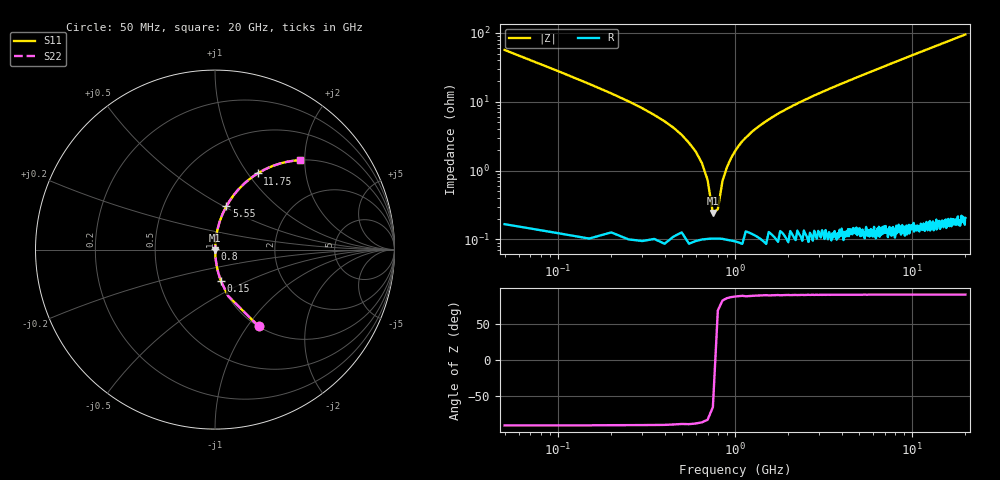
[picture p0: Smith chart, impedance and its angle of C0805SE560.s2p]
! AVX Thin Film Operation		Date: April 2012
! Description: Accu-P® Series, Thin Film, SMD, RF Capacitor
! Part Number: 08053K560FBTTR
!	50	MHz	-	20.05	GHz
!	Serial	Measurements
#	MHZ	S	MA	R	50
!	S11	S21	S12	S22
!	dB	Phase	dB	Phase	dB	Phase	dB	Phase
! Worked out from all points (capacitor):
!   400 points, 50 MHz to 20 GHz, reference 50 ohm
!   read as one part in series: C = 56.1 pF near 150 MHz
!   lowest |Z| = 242 mohm at 750 MHz (marker M1)
!   series resonance near 773.1 MHz, so ESL is about 760 pH
!   S11 on the Smith chart (normalised r, x): 50 MHz: 1.00, -1.13; 150 MHz: 1.00, -0.36; 800 MHz: 1.00, +0.01; 5.55 GHz: 1.00, +0.52; 11.75 GHz: 1.00, +1.11; 20 GHz: 1.00, +1.90
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50  0.492 -60.4  0.869 29.5  0.869 29.5  0.492 -60.4
100  0.269 -74.1  0.962 15.6  0.962 15.6  0.269 -74.1
150  0.179 -79.3  0.983 10.3  0.983 10.3  0.179 -79.3
300  0.08 -84.6  0.996 4.6  0.996 4.6  0.08 -84.6
600  0.019 -85.7  0.999 1.1  0.999 1.1  0.019 -85.7
650  0.013 -84.5  0.999 0.7  0.999 0.7  0.013 -84.5
700  0.007347 -81.3  0.999 0.4  0.999 0.4  0.007347 -81.3
750  0.002431 -64.1  0.999 0.1  0.999 0.1  0.002431 -64.1
800  0.002766 67.3  0.999 -0.1  0.999 -0.1  0.002766 67.3
850  0.007099 81.0  0.999 -0.4  0.999 -0.4  0.007099 81.0
950  0.015 85.2  0.999 -0.9  0.999 -0.9  0.015 85.2
1100  0.027 86.2  0.999 -1.5  0.999 -1.5  0.027 86.2
1300  0.04 86.2  0.998 -2.3  0.998 -2.3  0.04 86.2
2000  0.081 84.6  0.996 -4.6  0.996 -4.6  0.081 84.6
3400  0.152 80.9  0.987 -8.7  0.987 -8.7  0.152 80.9
5550  0.251 75.2  0.967 -14.5  0.967 -14.5  0.251 75.2
6700  0.3 72.3  0.953 -17.4  0.953 -17.4  0.3 72.3
10050  0.429 64.4  0.902 -25.4  0.902 -25.4  0.429 64.4
11750  0.486 60.8  0.873 -29.1  0.873 -29.1  0.486 60.8
13350  0.534 57.5  0.844 -32.3  0.844 -32.3  0.534 57.5
16700  0.621 51.5  0.783 -38.4  0.783 -38.4  0.621 51.5
20000  0.688 46.4  0.724 -43.5  0.724 -43.5  0.688 46.4
